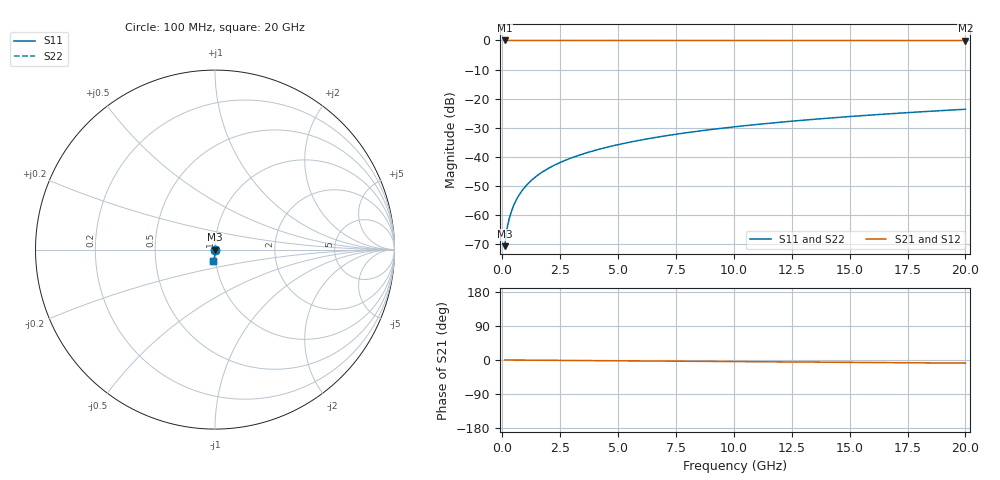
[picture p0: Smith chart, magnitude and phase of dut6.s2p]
! Touchstone file exported from HFSS 2026.1.0
!  File:  C:/ffzhzh/LocalFiles/Ansys_Project_Files/temp_val_TSV_6_1782974844_45568.aedt
!  Generated:  02:48:39 PM Jul  2, 2026
!  Design:  TSV
!  Project:  temp_val_TSV_6_1782974844_45568
! Variables:
!  h_bsmrdl = 2um
!  h_ox = 20um
!  h_rdl = 5um
!  h_sub = 76.33um
!  h_tmrdl = 5um
!  h_tsv = 76.33um
!  h_via = 3um
!  l_bsmrdl = 300um
!  l_sub = 429.88um
!  l_tmrdl = 200um
!  m_sub = 200um
!  pitch = 40.45um
!  r_tsv = 14.94um
!  s_tmrdl = 10um
!  w_bsmrdl = 18um
!  w_sub = 500um
!  w_tmrdl = 12um
!  x_tsv_center1 = 206um
!  x_tsv_center2 = 524um
!  x_tsv_center3 = 736um
!  x_tsv_center4 = 1054um
!  x_tsv_center5 = 1266um
!  x_tsv_center6 = 1584um
# GHz S MA R 50.000000
! Terminal data exported
! Port[1] = TSV1_1_T1
! Port[2] = TSV1_1_T2
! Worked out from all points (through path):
!   200 points, 100 MHz to 20 GHz, reference 50 ohm
!   highest |S21| = 0.00 dB at 100 MHz (marker M1); lowest = 0.0 dB at 20 GHz (marker M2)
!   group delay of S21, straight-line fit = 1.14 ps
!   lowest |S11| = -70.6 dB at 100 MHz (marker M3), VSWR 1.00, Z = 50 - j0.0286 ohm
!   |S11| at or under -10 dB: start of sweep to end of sweep
!   |S22| runs from -70.6 to -23.6 dB; largest |S21 - S12| = 5.2e-15
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0.1  0.0002954 -75.1  0.9999 -0.0  0.9999 -0.0  0.0002954 -75.1
! Gamma 0 0 0 0
! Port Impedance 50 0 50 0
0.2  0.000583 -81.0  0.9999 -0.1  0.9999 -0.1  0.000583 -81.0
0.3  0.0008812 -82.6  0.9999 -0.1  0.9999 -0.1  0.0008812 -82.6
0.4  0.001189 -83.3  0.9999 -0.2  0.9999 -0.2  0.001189 -83.3
0.5  0.001503 -83.8  0.9998 -0.2  0.9998 -0.2  0.001503 -83.8
0.7  0.002147 -84.6  0.9998 -0.3  0.9998 -0.3  0.002147 -84.6
0.8  0.002474 -84.9  0.9998 -0.3  0.9998 -0.3  0.002474 -84.9
1  0.00313 -85.6  0.9997 -0.4  0.9997 -0.4  0.00313 -85.6
1.2  0.003789 -86.1  0.9997 -0.5  0.9997 -0.5  0.003789 -86.1
1.4  0.004447 -86.6  0.9997 -0.6  0.9997 -0.6  0.004447 -86.6
1.7  0.005434 -87.2  0.9997 -0.7  0.9997 -0.7  0.005434 -87.2
2  0.00642 -87.7  0.9996 -0.8  0.9996 -0.8  0.00642 -87.7
2.7  0.008721 -88.5  0.9996 -1.1  0.9996 -1.1  0.008721 -88.5
3.5  0.01135 -89.2  0.9995 -1.5  0.9995 -1.5  0.01135 -89.2
4.2  0.01366 -89.7  0.9994 -1.8  0.9994 -1.8  0.01366 -89.7
5  0.01631 -90.2  0.9993 -2.1  0.9993 -2.1  0.01631 -90.2
6.8  0.02227 -91.2  0.9991 -2.8  0.9991 -2.8  0.02227 -91.2
8.3  0.02725 -92.0  0.9989 -3.4  0.9989 -3.4  0.02725 -92.0
10.1  0.03323 -92.8  0.9987 -4.2  0.9987 -4.2  0.03323 -92.8
13.4  0.04418 -94.4  0.9981 -5.5  0.9981 -5.5  0.04418 -94.4
16.7  0.05511 -95.9  0.9975 -6.9  0.9975 -6.9  0.05511 -95.9
20  0.06602 -97.3  0.9967 -8.3  0.9967 -8.3  0.06602 -97.3
